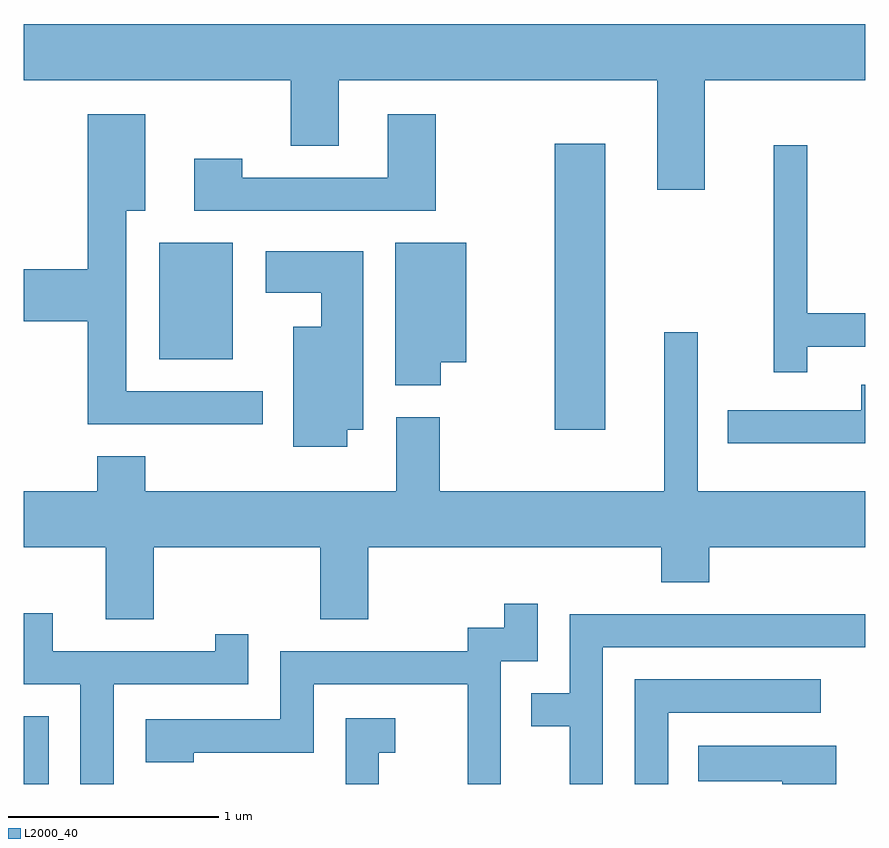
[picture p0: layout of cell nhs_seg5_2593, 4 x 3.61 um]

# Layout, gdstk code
import gdstk
lib = gdstk.Library(unit=1e-6, precision=1e-09)
def R(c, l, rs):  # rectangles x0, y0, x1, y1
    for r in rs: c.add(gdstk.rectangle(r[:2], r[2:], *l))
def P(c, l, *ps):  # polygons
    for p in ps: c.add(gdstk.Polygon(p, *l))
L2000_40 = (2000, 40)

nhs_seg5_2593 = lib.new_cell('nhs_seg5_2593')
R(nhs_seg5_2593, L2000_40, [(261.611,1500.072,261.729,1500.394), (264.136,1501.756,264.374,1503.114), (262.256,1502.091,262.604,1502.644)])
P(nhs_seg5_2593, L2000_40, [(264.849,1503.416),(265.611,1503.416),(265.611,1503.684),(261.611,1503.684),(261.611,1503.416),(262.881,1503.416),(262.881,1503.106),(263.109,1503.106),(263.109,1503.416),(264.621,1503.416),(264.621,1502.896),(264.849,1502.896)],
  [(263.569,1503.254),(263.341,1503.254),(263.341,1502.954),(262.649,1502.954),(262.649,1503.044),(262.421,1503.044),(262.421,1502.796),(263.569,1502.796)],
  [(262.748,1501.939),(262.099,1501.939),(262.099,1502.796),(262.189,1502.796),(262.189,1503.254),(261.916,1503.254),(261.916,1502.519),(261.611,1502.519),(261.611,1502.271),(261.916,1502.271),(261.916,1501.781),(262.748,1501.781)],
  [(265.334,1502.151),(265.611,1502.151),(265.611,1502.309),(265.334,1502.309),(265.334,1503.108),(265.176,1503.108),(265.176,1502.028),(265.334,1502.028)],
  [(263.594,1502.076),(263.714,1502.076),(263.714,1502.644),(263.376,1502.644),(263.376,1501.966),(263.594,1501.966)],
  [(263.149,1501.756),(263.224,1501.756),(263.224,1502.604),(262.761,1502.604),(262.761,1502.406),(263.026,1502.406),(263.026,1502.244),(262.891,1502.244),(262.891,1501.676),(263.149,1501.676)],
  [(262.229,1501.196),(263.021,1501.196),(263.021,1500.856),(263.249,1500.856),(263.249,1501.196),(264.641,1501.196),(264.641,1501.031),(264.869,1501.031),(264.869,1501.196),(265.611,1501.196),(265.611,1501.464),(264.814,1501.464),(264.814,1502.218),(264.656,1502.218),(264.656,1501.464),(263.589,1501.464),(263.589,1501.814),(263.381,1501.814),(263.381,1501.464),(262.189,1501.464),(262.189,1501.629),(261.961,1501.629),(261.961,1501.464),(261.611,1501.464),(261.611,1501.196),(262.001,1501.196),(262.001,1500.856),(262.229,1500.856)],
  [(265.611,1501.969),(265.591,1501.969),(265.591,1501.849),(264.958,1501.849),(264.958,1501.691),(265.611,1501.691)],
  [(263.879,1500.656),(264.054,1500.656),(264.054,1500.928),(263.896,1500.928),(263.896,1500.814),(263.721,1500.814),(263.721,1500.704),(262.831,1500.704),(262.831,1500.379),(262.191,1500.379),(262.191,1500.176),(262.419,1500.176),(262.419,1500.221),(262.989,1500.221),(262.989,1500.546),(263.721,1500.546),(263.721,1500.072),(263.879,1500.072)],
  [(262.039,1500.546),(262.679,1500.546),(262.679,1500.783),(262.521,1500.783),(262.521,1500.704),(261.749,1500.704),(261.749,1500.883),(261.611,1500.883),(261.611,1500.546),(261.881,1500.546),(261.881,1500.072),(262.039,1500.072)],
  [(264.364,1500.721),(265.611,1500.721),(265.611,1500.879),(264.206,1500.879),(264.206,1500.504),(264.023,1500.504),(264.023,1500.346),(264.206,1500.346),(264.206,1500.072),(264.364,1500.072)],
  [(264.674,1500.411),(265.398,1500.411),(265.398,1500.569),(264.516,1500.569),(264.516,1500.072),(264.674,1500.072)],
  [(263.299,1500.221),(263.378,1500.221),(263.378,1500.384),(263.141,1500.384),(263.141,1500.072),(263.299,1500.072)],
  [(265.474,1500.254),(264.818,1500.254),(264.818,1500.086),(265.216,1500.086),(265.216,1500.072),(265.474,1500.072)])

lib.write_gds('nhs_seg5_2593.gds')
